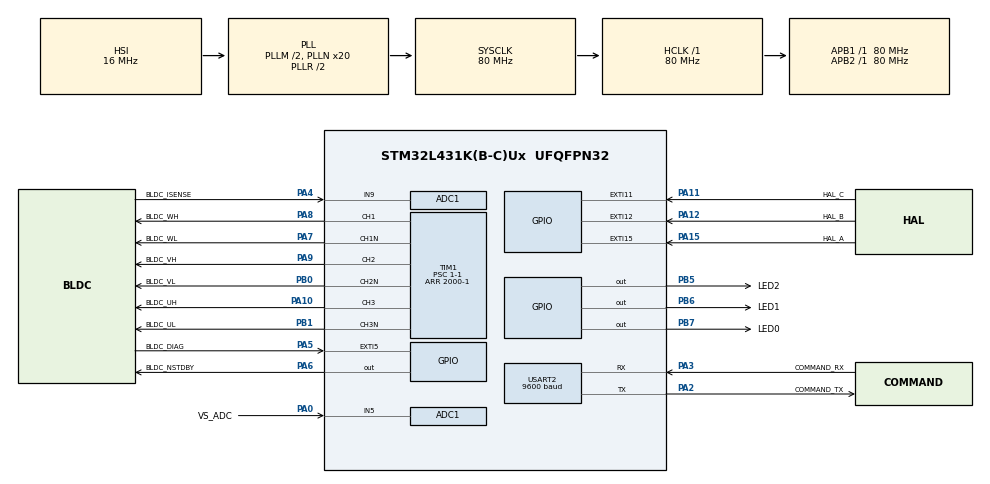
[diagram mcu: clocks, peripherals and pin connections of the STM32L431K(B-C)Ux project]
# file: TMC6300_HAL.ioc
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ADC1.Channel-0\#ChannelRegularConversion=ADC_CHANNEL_5
ADC1.Channel-1\#ChannelRegularConversion=ADC_CHANNEL_9
ADC1.ClockPrescaler=ADC_CLOCK_ASYNC_DIV8
ADC1.ContinuousConvMode=DISABLE
ADC1.DMAContinuousRequests=DISABLE
ADC1.EOCSelection=ADC_EOC_SEQ_CONV
ADC1.NbrOfConversion=2
ADC1.NbrOfConversionFlag=1
ADC1.OffsetNumber-0\#ChannelRegularConversion=ADC_OFFSET_NONE
ADC1.OffsetNumber-1\#ChannelRegularConversion=ADC_OFFSET_NONE
ADC1.Rank-0\#ChannelRegularConversion=1
ADC1.Rank-1\#ChannelRegularConversion=2
ADC1.Resolution=ADC_RESOLUTION_12B
ADC1.SamplingTime-0\#ChannelRegularConversion=ADC_SAMPLETIME_2CYCLES_5
ADC1.SamplingTime-1\#ChannelRegularConversion=ADC_SAMPLETIME_2CYCLES_5
ADC1.master=1
Dma.ADC1.0.Direction=DMA_PERIPH_TO_MEMORY
Dma.ADC1.0.Instance=DMA1_Channel1
Dma.ADC1.0.MemDataAlignment=DMA_MDATAALIGN_WORD
Dma.ADC1.0.MemInc=DMA_MINC_ENABLE
Dma.ADC1.0.Mode=DMA_CIRCULAR
Dma.ADC1.0.PeriphDataAlignment=DMA_PDATAALIGN_WORD
Dma.ADC1.0.PeriphInc=DMA_PINC_DISABLE
Dma.ADC1.0.Priority=DMA_PRIORITY_LOW
Dma.Request0=ADC1
Mcu.Family=STM32L4
Mcu.Name=STM32L431K(B-C)Ux
Mcu.Package=UFQFPN32
NVIC.ADC1_IRQn=true\:0\:0\:false\:false\:true\:true\:true\:true
NVIC.DMA1_Channel1_IRQn=true\:0\:0\:false\:false\:true\:false\:true\:true
NVIC.EXTI15_10_IRQn=true\:0\:0\:false\:false\:true\:true\:true\:true
NVIC.PriorityGroup=NVIC_PRIORITYGROUP_4
NVIC.TIM2_IRQn=true\:0\:0\:false\:false\:true\:true\:true\:true
NVIC.USART2_IRQn=true\:0\:0\:false\:false\:true\:true\:true\:true
PA0.GPIO_Label=VS_ADC
PA0.Signal=ADCx_IN5
PA10.GPIO_Label=BLDC_UH
PA10.Signal=S_TIM1_CH3
PA11.GPIO_Label=HAL_C
PA11.GPIO_ModeDefaultEXTI=GPIO_MODE_IT_RISING_FALLING
PA11.Signal=GPXTI11
PA12.GPIO_Label=HAL_B
PA12.GPIO_ModeDefaultEXTI=GPIO_MODE_IT_RISING_FALLING
PA12.Signal=GPXTI12
PA13\ (JTMS-SWDIO).Mode=Trace_Asynchronous_SW
PA13\ (JTMS-SWDIO).Signal=SYS_JTMS-SWDIO
PA14\ (JTCK-SWCLK).Mode=Trace_Asynchronous_SW
PA14\ (JTCK-SWCLK).Signal=SYS_JTCK-SWCLK
PA15\ (JTDI).GPIO_Label=HAL_A
PA15\ (JTDI).GPIO_ModeDefaultEXTI=GPIO_MODE_IT_RISING_FALLING
PA15\ (JTDI).Signal=GPXTI15
PA2.GPIO_Label=COMMAND_TX
PA2.GPIO_Speed=GPIO_SPEED_FREQ_MEDIUM
PA2.Mode=Asynchronous
PA2.Signal=USART2_TX
PA3.GPIO_Label=COMMAND_RX
PA3.GPIO_Speed=GPIO_SPEED_FREQ_MEDIUM
PA3.Mode=Asynchronous
PA3.Signal=USART2_RX
PA4.GPIO_Label=BLDC_ISENSE
PA4.Signal=ADCx_IN9
PA5.GPIO_Label=BLDC_DIAG
PA5.Signal=GPXTI5
PA6.GPIO_Label=BLDC_NSTDBY
PA6.PinState=GPIO_PIN_SET
PA6.Signal=GPIO_Output
PA7.GPIO_Label=BLDC_WL
PA7.Mode=PWM Generation1 CH1 CH1N
PA7.Signal=TIM1_CH1N
PA8.GPIO_Label=BLDC_WH
PA8.Signal=S_TIM1_CH1
PA9.GPIO_Label=BLDC_VH
PA9.Signal=S_TIM1_CH2
PB0.GPIO_Label=BLDC_VL
PB0.Mode=PWM Generation2 CH2 CH2N
PB0.Signal=TIM1_CH2N
PB1.GPIO_Label=BLDC_UL
PB1.Mode=PWM Generation3 CH3 CH3N
PB1.Signal=TIM1_CH3N
PB3\ (JTDO-TRACESWO).Mode=Trace_Asynchronous_SW
PB3\ (JTDO-TRACESWO).Signal=SYS_JTDO-SWO
PB5.GPIO_Label=LED2
PB5.Signal=GPIO_Output
PB6.GPIO_Label=LED1
PB6.Signal=GPIO_Output
PB7.GPIO_Label=LED0
PB7.Signal=GPIO_Output
ProjectManager.HeapSize=0x200
ProjectManager.StackSize=0x400
ProjectManager.TargetToolchain=STM32CubeIDE
RCC.ADCFreq_Value=64000000
RCC.AHBFreq_Value=80000000
RCC.APB1Freq_Value=80000000
RCC.APB1TimFreq_Value=80000000
RCC.APB2Freq_Value=80000000
RCC.APB2TimFreq_Value=80000000
RCC.CortexFreq_Value=80000000
RCC.HCLKFreq_Value=80000000
RCC.HSE_VALUE=8000000
RCC.HSI48_VALUE=48000000
RCC.HSI_VALUE=16000000
RCC.LSE_VALUE=32768
RCC.MSI_VALUE=4000000
RCC.PLLM=2
RCC.PLLN=20
RCC.PLLSAI1N=16
RCC.PLLSourceVirtual=RCC_PLLSOURCE_HSI
RCC.SYSCLKFreq_VALUE=80000000
RCC.SYSCLKSource=RCC_SYSCLKSOURCE_PLLCLK
RCC.VCOOutputFreq_Value=160000000
SH.ADCx_IN5.0=ADC1_IN5,IN5-Single-Ended
SH.ADCx_IN9.0=ADC1_IN9,IN9-Single-Ended
SH.S_TIM1_CH1.0=TIM1_CH1,PWM Generation1 CH1 CH1N
SH.S_TIM1_CH2.0=TIM1_CH2,PWM Generation2 CH2 CH2N
SH.S_TIM1_CH3.0=TIM1_CH3,PWM Generation3 CH3 CH3N
TIM1.Channel-PWM\ Generation1\ CH1\ CH1N=TIM_CHANNEL_1
TIM1.Channel-PWM\ Generation2\ CH2\ CH2N=TIM_CHANNEL_2
TIM1.Channel-PWM\ Generation3\ CH3\ CH3N=TIM_CHANNEL_3
TIM1.DeadTime=0
TIM1.Period=2000-1
TIM1.Prescaler=1-1
TIM2.Period=4294967296-1
TIM2.Prescaler=4-1
USART2.BaudRate=9600
USART2.VirtualMode-Asynchronous=VM_ASYNC
VP_TIM2_VS_ClockSourceINT.Mode=Internal
board=custom

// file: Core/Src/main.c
/* USER CODE BEGIN Header */
/**
 ******************************************************************************
 * @file           : main.c
 * @brief          : Main program body
 ******************************************************************************
 * @attention
 *
 * Copyright (c) 2024 STMicroelectronics.
 * All rights reserved.
 *
 * This software is licensed under terms that can be found in the LICENSE file
 * in the root directory of this software component.
 * If no LICENSE file comes with this software, it is provided AS-IS.
 *
 ******************************************************************************
 */
/* USER CODE END Header */
#include "main.h"

/* USER CODE BEGIN Includes */
#include "uart_header.h"
#include "string.h"
#include "stdio.h"
#include "stdlib.h"
#include "math.h"

/* USER CODE END Includes */

ADC_HandleTypeDef hadc1;
DMA_HandleTypeDef hdma_adc1;

TIM_HandleTypeDef htim1;
TIM_HandleTypeDef htim2;

UART_HandleTypeDef huart2;

void SystemClock_Config(void);
static void MX_GPIO_Init(void);
static void MX_DMA_Init(void);
static void MX_ADC1_Init(void);
static void MX_TIM1_Init(void);
static void MX_USART2_UART_Init(void);
static void MX_TIM2_Init(void);

/* USER CODE BEGIN 0 */
int8_t direction = 0;			//     1  3  2  5  6  4
const uint8_t switch_sequence[8] = {0, 0, 2, 1, 4, 5, 3, 0};
const uint8_t pulse_sequence[8][3] = {{1, 0, 0}, {1, 0, 1}, {0, 0, 1}, {0, 1, 1}, {0, 1, 0}, {1, 1, 0}};

int32_t power = 500;
int32_t position = 0;
int32_t velocity = 0;
int32_t current = 0;
int32_t target_position = 0;
int32_t target_velocity = 12 * 100;
int32_t target_current = 0;

void setSequence()
{
	static uint8_t prev_seq_index = 0;
	uint8_t state_a = HAL_GPIO_ReadPin(HAL_A_GPIO_Port, HAL_A_Pin);
	uint8_t state_b = HAL_GPIO_ReadPin(HAL_B_GPIO_Port, HAL_B_Pin);
	uint8_t state_c = HAL_GPIO_ReadPin(HAL_C_GPIO_Port, HAL_C_Pin);
	uint8_t index = (state_c << 2) | (state_b << 1) | (state_a << 0);
	uint8_t seq_index = (switch_sequence[index] + 4 + direction * 2) % 6;

	if(switch_sequence[index] == (prev_seq_index + 1) % 6)
		position += 1;
	if(prev_seq_index == (switch_sequence[index] + 1) % 6)
		position -= 1;
	prev_seq_index = switch_sequence[index];

	htim1.Instance->CCR1 = pulse_sequence[seq_index][0] * power;
	htim1.Instance->CCR2 = pulse_sequence[seq_index][1] * power;
	htim1.Instance->CCR3 = pulse_sequence[seq_index][2] * power;
}

int32_t velocity_interval = 0;
void HAL_GPIO_EXTI_Callback(uint16_t GPIO_Pin)
{
	if(GPIO_Pin == HAL_A_Pin || GPIO_Pin == HAL_B_Pin || GPIO_Pin == HAL_C_Pin)
	{
		setSequence();
		velocity_interval = htim2.Instance->CNT;
		htim2.Instance->CNT = 0;
	}
}

void HAL_TIM_PeriodElapsedCallback(TIM_HandleTypeDef* htim)
{
	velocity_interval = -1;
}

uint8_t uart_receive_buffer[UART_PACKAGE_SIZE];
void HAL_UART_RxCpltCallback(UART_HandleTypeDef *huart)
{
	// send response
	UartResponsePackage_t package;
	package.response = UART_ACK;
	package.none0 = 0;
	package.none1 = 0;
	package.none2 = 0;
	package.none3 = 0;
	package.none4 = 0;
	package.none5 = 0;
	package.none6 = 0;
	package.none7 = 0;
	HAL_UART_Transmit_IT(&huart2, (uint8_t*)&package, UART_PACKAGE_SIZE);

	// restart interrupt
	HAL_UART_Receive_IT(&huart2, (uint8_t*)&uart_receive_buffer, UART_PACKAGE_SIZE);
}

uint32_t adc_buffer[2];
uint32_t adc_dma_buffer[2];
void HAL_ADC_ConvCpltCallback(ADC_HandleTypeDef* hadc)
{
	// filter and insert data
	adc_buffer[0] = (adc_buffer[0] * 253 + adc_dma_buffer[0] * 3) >> 8;
	adc_buffer[1] = (adc_buffer[1] * 253 + adc_dma_buffer[1] * 3) >> 8;

	// current regulation loop
	HAL_ADC_Start_DMA(&hadc1, adc_dma_buffer, 2);
}

/* USER CODE END 0 */

int main(void)
{

	/* MCU Configuration--------------------------------------------------------*/

	/* Reset of all peripherals, Initializes the Flash interface and the Systick. */
	HAL_Init();

	/* Configure the system clock */
	SystemClock_Config();

	/* Initialize all configured peripherals */
	MX_GPIO_Init();
	MX_DMA_Init();
	MX_ADC1_Init();
	MX_TIM1_Init();
	MX_USART2_UART_Init();
	MX_TIM2_Init();
	/* USER CODE BEGIN 2 */

	htim1.Instance->CCR1 = 500;
	htim1.Instance->CCR2 = 500;
	htim1.Instance->CCR3 = 500;

	htim1.Instance->CR2 &= ~(TIM_CR2_CCPC);
	HAL_TIM_Base_Start(&htim1);
	HAL_TIM_PWM_Start(&htim1, TIM_CHANNEL_1);
	HAL_TIMEx_PWMN_Start(&htim1, TIM_CHANNEL_1);
	HAL_TIM_PWM_Start(&htim1, TIM_CHANNEL_2);
	HAL_TIMEx_PWMN_Start(&htim1, TIM_CHANNEL_2);
	HAL_TIM_PWM_Start(&htim1, TIM_CHANNEL_3);
	HAL_TIMEx_PWMN_Start(&htim1, TIM_CHANNEL_3);

	// start interrupt
	HAL_UART_Receive_IT(&huart2, (uint8_t*)&uart_receive_buffer, UART_PACKAGE_SIZE);

	// start adc
	HAL_ADC_Start_DMA(&hadc1, adc_dma_buffer, 2);
	HAL_TIM_Base_Start_IT(&htim2);

	char tx_buffer[32];
	sprintf(tx_buffer, "current(mA), velocity(n/s), position(n)\n");
	HAL_UART_Transmit_IT(&huart2, (uint8_t*)tx_buffer, strlen(tx_buffer));

	/* USER CODE END 2 */

	/* Infinite loop */
	/* USER CODE BEGIN WHILE */
	while (1)
	{
		static uint32_t current_loop = 100;
		if(current_loop < HAL_GetTick())
		{
			current_loop = HAL_GetTick() + 5;

			// get milliamp count
			int32_t millivolt = (int32_t)(3300 * adc_buffer[1] / 4096);
			current = direction * millivolt / 1.5924f;

			// PI controller
			int32_t error = target_current - current;

			int32_t proportional = error * 64;

			static int32_t integral = 0;
			integral += error * 32;
			integral = integral > 512000 ? 512000 : integral;
			integral = integral <-512000 ?-512000 : integral;

			int32_t output = proportional / 256 + integral / 256;
			output = output > 2000 ? 2000 : output;
			output = output <-2000 ?-2000 : output;

			direction = output > 0 ? 1 : -1;
			power = labs(output);

			if(velocity <= 5 && velocity >= -5)
				setSequence();
		}

		static uint32_t velocity_loop = 100;
		if(velocity_loop < HAL_GetTick())
		{
			velocity_loop = HAL_GetTick() + 10;

			// get velocity count
			static int32_t prev_position = 0;
			int32_t dir = position - prev_position;
			prev_position = position;
			dir = dir > 1 ? 1 : dir;
			dir = dir < -1 ? -1 : dir;

			int32_t raw_velocity = dir * 20000000l / velocity_interval;
			if(velocity_interval == -1)
				raw_velocity = 0;
			velocity = (velocity * 150 + raw_velocity * 106) >> 8;

			// PI controller
			int32_t error = target_velocity - velocity;

			int32_t proportional = error * 800;

			static int32_t integral = 0;
			integral += error * 48;
			integral = integral > 256000 ? 256000 : integral;
			integral = integral <-256000 ?-256000 : integral;

			int32_t output = proportional / 256 + integral / 256;
			output = output > 1000 ? 1000 : output;
			output = output <-1000 ?-1000 : output;

			target_current = output;
		}

		static uint32_t position_loop = 100;
		if(position_loop < HAL_GetTick())
		{
			position_loop = HAL_GetTick() + 20;

			// PI controller
			int32_t error = target_position - position;

			int32_t proportional = error * 3200;

			static int32_t integral = 0;
			integral += error * 0;
			integral = integral > 307200 ? 307200 : integral;
			integral = integral <-307200 ?-307200 : integral;

			int32_t output = proportional / 256 + integral / 256;
			output = output > 1200 ? 1200 : output;
			output = output <-1200 ?-1200 : output;

			target_velocity = output;
		}

		// debug code
		static uint32_t debug = 100;
		if(debug < HAL_GetTick())
		{
			debug = HAL_GetTick() + 50;

			char tx_buffer[32];
			sprintf(tx_buffer, "%ld, %ld, %ld, %ld\n", current, velocity, position, target_position);
			HAL_UART_Transmit_IT(&huart2, (uint8_t*)tx_buffer, strlen(tx_buffer));
		}

		// switch code
		static uint32_t switch_loop = 100;
		if(switch_loop < HAL_GetTick())
		{
			switch_loop = HAL_GetTick() + 20;
			target_position = 600 * sinf((float)HAL_GetTick() / 1000.0f) + 200 * sinf(1.0f + (float)HAL_GetTick() / 700.0f);
		}

		/* USER CODE END WHILE */

	}
}

void SystemClock_Config(void)
{
	RCC_OscInitTypeDef RCC_OscInitStruct = {0};
	RCC_ClkInitTypeDef RCC_ClkInitStruct = {0};

	/** Configure the main internal regulator output voltage
	 */
	if (HAL_PWREx_ControlVoltageScaling(PWR_REGULATOR_VOLTAGE_SCALE1) != HAL_OK)
	{
		Error_Handler();
	}

	/** Initializes the RCC Oscillators according to the specified parameters
	 * in the RCC_OscInitTypeDef structure.
	 */
	RCC_OscInitStruct.OscillatorType = RCC_OSCILLATORTYPE_HSI;
	RCC_OscInitStruct.HSIState = RCC_HSI_ON;
	RCC_OscInitStruct.HSICalibrationValue = RCC_HSICALIBRATION_DEFAULT;
	RCC_OscInitStruct.PLL.PLLState = RCC_PLL_ON;
	RCC_OscInitStruct.PLL.PLLSource = RCC_PLLSOURCE_HSI;
	RCC_OscInitStruct.PLL.PLLM = 2;
	RCC_OscInitStruct.PLL.PLLN = 20;
	RCC_OscInitStruct.PLL.PLLP = RCC_PLLP_DIV7;
	RCC_OscInitStruct.PLL.PLLQ = RCC_PLLQ_DIV2;
	RCC_OscInitStruct.PLL.PLLR = RCC_PLLR_DIV2;
	if (HAL_RCC_OscConfig(&RCC_OscInitStruct) != HAL_OK)
	{
		Error_Handler();
	}

	/** Initializes the CPU, AHB and APB buses clocks
	 */
	RCC_ClkInitStruct.ClockType = RCC_CLOCKTYPE_HCLK|RCC_CLOCKTYPE_SYSCLK
			|RCC_CLOCKTYPE_PCLK1|RCC_CLOCKTYPE_PCLK2;
	RCC_ClkInitStruct.SYSCLKSource = RCC_SYSCLKSOURCE_PLLCLK;
	RCC_ClkInitStruct.AHBCLKDivider = RCC_SYSCLK_DIV1;
	RCC_ClkInitStruct.APB1CLKDivider = RCC_HCLK_DIV1;
	RCC_ClkInitStruct.APB2CLKDivider = RCC_HCLK_DIV1;

	if (HAL_RCC_ClockConfig(&RCC_ClkInitStruct, FLASH_LATENCY_4) != HAL_OK)
	{
		Error_Handler();
	}
}

static void MX_ADC1_Init(void)
{

	ADC_ChannelConfTypeDef sConfig = {0};

	/** Common config
	 */
	hadc1.Instance = ADC1;
	hadc1.Init.ClockPrescaler = ADC_CLOCK_ASYNC_DIV8;
	hadc1.Init.Resolution = ADC_RESOLUTION_12B;
	hadc1.Init.DataAlign = ADC_DATAALIGN_RIGHT;
	hadc1.Init.ScanConvMode = ADC_SCAN_ENABLE;
	hadc1.Init.EOCSelection = ADC_EOC_SEQ_CONV;
	hadc1.Init.LowPowerAutoWait = DISABLE;
	hadc1.Init.ContinuousConvMode = DISABLE;
	hadc1.Init.NbrOfConversion = 2;
	hadc1.Init.DiscontinuousConvMode = DISABLE;
	hadc1.Init.ExternalTrigConv = ADC_SOFTWARE_START;
	hadc1.Init.ExternalTrigConvEdge = ADC_EXTERNALTRIGCONVEDGE_NONE;
	hadc1.Init.DMAContinuousRequests = DISABLE;
	hadc1.Init.Overrun = ADC_OVR_DATA_PRESERVED;
	hadc1.Init.OversamplingMode = DISABLE;
	if (HAL_ADC_Init(&hadc1) != HAL_OK)
	{
		Error_Handler();
	}

	/** Configure Regular Channel
	 */
	sConfig.Channel = ADC_CHANNEL_5;
	sConfig.Rank = ADC_REGULAR_RANK_1;
	sConfig.SamplingTime = ADC_SAMPLETIME_2CYCLES_5;
	sConfig.SingleDiff = ADC_SINGLE_ENDED;
	sConfig.OffsetNumber = ADC_OFFSET_NONE;
	sConfig.Offset = 0;
	if (HAL_ADC_ConfigChannel(&hadc1, &sConfig) != HAL_OK)
	{
		Error_Handler();
	}

	/** Configure Regular Channel
	 */
	sConfig.Channel = ADC_CHANNEL_9;
	sConfig.Rank = ADC_REGULAR_RANK_2;
	if (HAL_ADC_ConfigChannel(&hadc1, &sConfig) != HAL_OK)
	{
		Error_Handler();
	}

}

static void MX_TIM1_Init(void)
{

	TIM_MasterConfigTypeDef sMasterConfig = {0};
	TIM_OC_InitTypeDef sConfigOC = {0};
	TIM_BreakDeadTimeConfigTypeDef sBreakDeadTimeConfig = {0};

	htim1.Instance = TIM1;
	htim1.Init.Prescaler = 1-1;
	htim1.Init.CounterMode = TIM_COUNTERMODE_UP;
	htim1.Init.Period = 2000-1;
	htim1.Init.ClockDivision = TIM_CLOCKDIVISION_DIV1;
	htim1.Init.RepetitionCounter = 0;
	htim1.Init.AutoReloadPreload = TIM_AUTORELOAD_PRELOAD_DISABLE;
	if (HAL_TIM_PWM_Init(&htim1) != HAL_OK)
	{
		Error_Handler();
	}
	sMasterConfig.MasterOutputTrigger = TIM_TRGO_RESET;
	sMasterConfig.MasterOutputTrigger2 = TIM_TRGO2_RESET;
	sMasterConfig.MasterSlaveMode = TIM_MASTERSLAVEMODE_DISABLE;
	if (HAL_TIMEx_MasterConfigSynchronization(&htim1, &sMasterConfig) != HAL_OK)
	{
		Error_Handler();
	}
	sConfigOC.OCMode = TIM_OCMODE_PWM1;
	sConfigOC.Pulse = 0;
	sConfigOC.OCPolarity = TIM_OCPOLARITY_HIGH;
	sConfigOC.OCNPolarity = TIM_OCNPOLARITY_HIGH;
	sConfigOC.OCFastMode = TIM_OCFAST_DISABLE;
	sConfigOC.OCIdleState = TIM_OCIDLESTATE_RESET;
	sConfigOC.OCNIdleState = TIM_OCNIDLESTATE_RESET;
	if (HAL_TIM_PWM_ConfigChannel(&htim1, &sConfigOC, TIM_CHANNEL_1) != HAL_OK)
	{
		Error_Handler();
	}
	if (HAL_TIM_PWM_ConfigChannel(&htim1, &sConfigOC, TIM_CHANNEL_2) != HAL_OK)
	{
		Error_Handler();
	}
	if (HAL_TIM_PWM_ConfigChannel(&htim1, &sConfigOC, TIM_CHANNEL_3) != HAL_OK)
	{
		Error_Handler();
	}
	sBreakDeadTimeConfig.OffStateRunMode = TIM_OSSR_DISABLE;
	sBreakDeadTimeConfig.OffStateIDLEMode = TIM_OSSI_DISABLE;
	sBreakDeadTimeConfig.LockLevel = TIM_LOCKLEVEL_OFF;
	sBreakDeadTimeConfig.DeadTime = 0;
	sBreakDeadTimeConfig.BreakState = TIM_BREAK_DISABLE;
	sBreakDeadTimeConfig.BreakPolarity = TIM_BREAKPOLARITY_HIGH;
	sBreakDeadTimeConfig.BreakFilter = 0;
	sBreakDeadTimeConfig.Break2State = TIM_BREAK2_DISABLE;
	sBreakDeadTimeConfig.Break2Polarity = TIM_BREAK2POLARITY_HIGH;
	sBreakDeadTimeConfig.Break2Filter = 0;
	sBreakDeadTimeConfig.AutomaticOutput = TIM_AUTOMATICOUTPUT_DISABLE;
	if (HAL_TIMEx_ConfigBreakDeadTime(&htim1, &sBreakDeadTimeConfig) != HAL_OK)
	{
		Error_Handler();
	}
	HAL_TIM_MspPostInit(&htim1);

}

static void MX_TIM2_Init(void)
{

	TIM_ClockConfigTypeDef sClockSourceConfig = {0};
	TIM_MasterConfigTypeDef sMasterConfig = {0};

	htim2.Instance = TIM2;
	htim2.Init.Prescaler = 4-1;
	htim2.Init.CounterMode = TIM_COUNTERMODE_UP;
	htim2.Init.Period = 4294967296-1;
	htim2.Init.ClockDivision = TIM_CLOCKDIVISION_DIV1;
	htim2.Init.AutoReloadPreload = TIM_AUTORELOAD_PRELOAD_DISABLE;
	if (HAL_TIM_Base_Init(&htim2) != HAL_OK)
	{
		Error_Handler();
	}
	sClockSourceConfig.ClockSource = TIM_CLOCKSOURCE_INTERNAL;
	if (HAL_TIM_ConfigClockSource(&htim2, &sClockSourceConfig) != HAL_OK)
	{
		Error_Handler();
	}
	sMasterConfig.MasterOutputTrigger = TIM_TRGO_RESET;
	sMasterConfig.MasterSlaveMode = TIM_MASTERSLAVEMODE_DISABLE;
	if (HAL_TIMEx_MasterConfigSynchronization(&htim2, &sMasterConfig) != HAL_OK)
	{
		Error_Handler();
	}

}

static void MX_USART2_UART_Init(void)
{

	huart2.Instance = USART2;
	huart2.Init.BaudRate = 9600;
	huart2.Init.WordLength = UART_WORDLENGTH_8B;
	huart2.Init.StopBits = UART_STOPBITS_1;
	huart2.Init.Parity = UART_PARITY_NONE;
	huart2.Init.Mode = UART_MODE_TX_RX;
	huart2.Init.HwFlowCtl = UART_HWCONTROL_NONE;
	huart2.Init.OverSampling = UART_OVERSAMPLING_16;
	huart2.Init.OneBitSampling = UART_ONE_BIT_SAMPLE_DISABLE;
	huart2.AdvancedInit.AdvFeatureInit = UART_ADVFEATURE_NO_INIT;
	if (HAL_UART_Init(&huart2) != HAL_OK)
	{
		Error_Handler();
	}

}

static void MX_DMA_Init(void)
{

	/* DMA controller clock enable */
	__HAL_RCC_DMA1_CLK_ENABLE();

	/* DMA interrupt init */
	/* DMA1_Channel1_IRQn interrupt configuration */
	HAL_NVIC_SetPriority(DMA1_Channel1_IRQn, 0, 0);
	HAL_NVIC_EnableIRQ(DMA1_Channel1_IRQn);

}

static void MX_GPIO_Init(void)
{
	GPIO_InitTypeDef GPIO_InitStruct = {0};

	/* GPIO Ports Clock Enable */
	__HAL_RCC_GPIOA_CLK_ENABLE();
	__HAL_RCC_GPIOB_CLK_ENABLE();

	/*Configure GPIO pin Output Level */
	HAL_GPIO_WritePin(BLDC_NSTDBY_GPIO_Port, BLDC_NSTDBY_Pin, GPIO_PIN_SET);

	/*Configure GPIO pin Output Level */
	HAL_GPIO_WritePin(GPIOB, LED2_Pin|LED1_Pin|LED0_Pin, GPIO_PIN_RESET);

	/*Configure GPIO pin : BLDC_DIAG_Pin */
	GPIO_InitStruct.Pin = BLDC_DIAG_Pin;
	GPIO_InitStruct.Mode = GPIO_MODE_IT_RISING;
	GPIO_InitStruct.Pull = GPIO_NOPULL;
	HAL_GPIO_Init(BLDC_DIAG_GPIO_Port, &GPIO_InitStruct);

	/*Configure GPIO pin : BLDC_NSTDBY_Pin */
	GPIO_InitStruct.Pin = BLDC_NSTDBY_Pin;
	GPIO_InitStruct.Mode = GPIO_MODE_OUTPUT_PP;
	GPIO_InitStruct.Pull = GPIO_NOPULL;
	GPIO_InitStruct.Speed = GPIO_SPEED_FREQ_LOW;
	HAL_GPIO_Init(BLDC_NSTDBY_GPIO_Port, &GPIO_InitStruct);

	/*Configure GPIO pins : HAL_C_Pin HAL_B_Pin HAL_A_Pin */
	GPIO_InitStruct.Pin = HAL_C_Pin|HAL_B_Pin|HAL_A_Pin;
	GPIO_InitStruct.Mode = GPIO_MODE_IT_RISING_FALLING;
	GPIO_InitStruct.Pull = GPIO_NOPULL;
	HAL_GPIO_Init(GPIOA, &GPIO_InitStruct);

	/*Configure GPIO pins : LED2_Pin LED1_Pin LED0_Pin */
	GPIO_InitStruct.Pin = LED2_Pin|LED1_Pin|LED0_Pin;
	GPIO_InitStruct.Mode = GPIO_MODE_OUTPUT_PP;
	GPIO_InitStruct.Pull = GPIO_NOPULL;
	GPIO_InitStruct.Speed = GPIO_SPEED_FREQ_LOW;
	HAL_GPIO_Init(GPIOB, &GPIO_InitStruct);

	/* EXTI interrupt init*/
	HAL_NVIC_SetPriority(EXTI15_10_IRQn, 0, 0);
	HAL_NVIC_EnableIRQ(EXTI15_10_IRQn);

}

void Error_Handler(void)
{
	__disable_irq();
	while (1)
	{
	}
}
